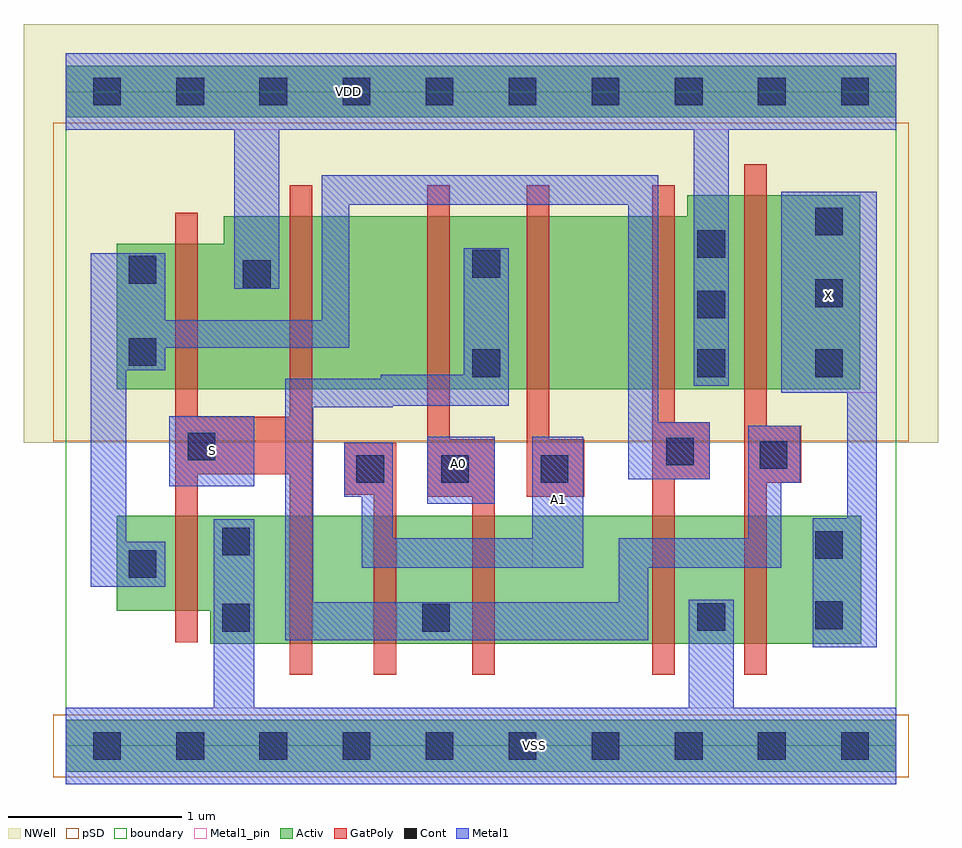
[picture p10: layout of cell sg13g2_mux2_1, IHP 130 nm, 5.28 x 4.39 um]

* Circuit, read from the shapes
.subckt sg13g2_mux2_1 A0 A1 S VDD VSS X
XM1 VSS S n1 VSS sg13_lv_nmos w=0.55u l=0.13u
XM2 n2 S VSS VSS sg13_lv_nmos w=0.74u l=0.13u
XM3 n3 A1 n2 VSS sg13_lv_nmos w=0.74u l=0.13u
XM4 n4 A0 n3 VSS sg13_lv_nmos w=0.74u l=0.13u
XM5 VSS n1 n4 VSS sg13_lv_nmos w=0.74u l=0.13u
XM6 X n3 VSS VSS sg13_lv_nmos w=0.74u l=0.13u
XM7 VDD S n1 VDD sg13_lv_pmos w=0.84u l=0.13u
XM8 n5 S VDD VDD sg13_lv_pmos w=1u l=0.13u
XM9 n3 A0 n5 VDD sg13_lv_pmos w=1u l=0.13u
XM10 n6 A1 n3 VDD sg13_lv_pmos w=1u l=0.13u
XM11 VDD n1 n6 VDD sg13_lv_pmos w=1u l=0.13u
XM12 X n3 VDD VDD sg13_lv_pmos w=1.12u l=0.13u
.ends

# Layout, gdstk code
import gdstk
lib = gdstk.Library(unit=1e-6, precision=1e-09)
def R(c, l, rs):  # rectangles x0, y0, x1, y1
    for r in rs: c.add(gdstk.rectangle(r[:2], r[2:], *l))
def P(c, l, *ps):  # polygons
    for p in ps: c.add(gdstk.Polygon(p, *l))
Activ = (1, 0)
GatPoly = (5, 0)
Cont = (6, 0)
Metal1 = (8, 0)
Metal1_pin = (8, 2)
pSD = (14, 0)
NWell = (31, 0)
boundary = (189, 4)

sg13g2_mux2_1 = lib.new_cell('sg13g2_mux2_1')
R(sg13g2_mux2_1, Activ, [(0,-0.15,4.8,0.15), (0,3.63,4.8,3.93)])
P(sg13g2_mux2_1, Activ, [(0.295,2.06),(0.295,2.9),(0.915,2.9),(0.915,3.06),(3.59,3.06),(3.59,3.18),(4.59,3.18),(4.59,2.06)],
  [(0.835,0.59),(0.835,0.78),(0.295,0.78),(0.295,1.33),(4.595,1.33),(4.595,0.59)])
P(sg13g2_mux2_1, GatPoly, [(1.295,0.41),(1.295,1.57),(0.765,1.57),(0.765,0.6),(0.635,0.6),(0.635,3.08),(0.765,3.08),(0.765,1.9),(1.295,1.9),(1.295,3.24),(1.425,3.24),(1.425,0.41)],
  [(3.92,0.41),(3.92,3.36),(4.05,3.36),(4.05,1.85),(4.25,1.85),(4.25,1.52),(4.05,1.52),(4.05,0.41)],
  [(3.39,0.41),(3.39,3.24),(3.52,3.24),(3.52,1.87),(3.72,1.87),(3.72,1.54),(3.52,1.54),(3.52,0.41)],
  [(2.665,1.44),(2.665,3.24),(2.795,3.24),(2.795,1.77),(2.995,1.77),(2.995,1.44)],
  [(2.35,0.41),(2.35,1.44),(2.09,1.44),(2.09,3.24),(2.22,3.24),(2.22,1.77),(2.48,1.77),(2.48,0.41)],
  [(1.78,0.41),(1.78,1.45),(1.61,1.45),(1.61,1.75),(1.91,1.75),(1.91,0.41)])
R(sg13g2_mux2_1, Cont, [(0.16,-0.08,0.32,0.08), (0.16,-0.08,0.32,0.08), (0.64,-0.08,0.8,0.08), (0.64,-0.08,0.8,0.08), (1.12,-0.08,1.28,0.08), (1.12,-0.08,1.28,0.08), (1.6,-0.08,1.76,0.08), (1.6,-0.08,1.76,0.08), (2.08,-0.08,2.24,0.08), (2.08,-0.08,2.24,0.08), (2.56,-0.08,2.72,0.08), (2.56,-0.08,2.72,0.08), (3.04,-0.08,3.2,0.08), (3.04,-0.08,3.2,0.08), (3.52,-0.08,3.68,0.08), (3.52,-0.08,3.68,0.08), (4,-0.08,4.16,0.08), (4,-0.08,4.16,0.08), (4.48,-0.08,4.64,0.08), (4.48,-0.08,4.64,0.08), (0.905,0.66,1.065,0.82), (2.06,0.66,2.22,0.82), (3.65,0.665,3.81,0.825), (4.33,0.675,4.49,0.835), (0.365,0.97,0.525,1.13), (4.33,1.08,4.49,1.24), (0.905,1.1,1.065,1.26), (1.68,1.52,1.84,1.68), (2.17,1.52,2.33,1.68), (2.745,1.52,2.905,1.68), (4.01,1.6,4.17,1.76), (3.47,1.62,3.63,1.78), (0.705,1.65,0.865,1.81), (2.35,2.13,2.51,2.29), (3.65,2.13,3.81,2.29), (4.33,2.13,4.49,2.29), (0.365,2.195,0.525,2.355), (3.65,2.47,3.81,2.63), (4.33,2.535,4.49,2.695), (1.025,2.645,1.185,2.805), (0.365,2.67,0.525,2.83), (2.35,2.705,2.51,2.865), (3.65,2.82,3.81,2.98), (4.33,2.95,4.49,3.11), (0.16,3.7,0.32,3.86), (0.16,3.7,0.32,3.86), (0.64,3.7,0.8,3.86), (0.64,3.7,0.8,3.86), (1.12,3.7,1.28,3.86), (1.12,3.7,1.28,3.86), (1.6,3.7,1.76,3.86), (1.6,3.7,1.76,3.86), (2.08,3.7,2.24,3.86), (2.08,3.7,2.24,3.86), (2.56,3.7,2.72,3.86), (2.56,3.7,2.72,3.86), (3.04,3.7,3.2,3.86), (3.04,3.7,3.2,3.86), (3.52,3.7,3.68,3.86), (3.52,3.7,3.68,3.86), (4,3.7,4.16,3.86), (4,3.7,4.16,3.86), (4.48,3.7,4.64,3.86), (4.48,3.7,4.64,3.86)])
R(sg13g2_mux2_1, Metal1, [(2.09,1.4,2.48,1.785), (0.6,1.5,1.09,1.905)])
P(sg13g2_mux2_1, Metal1, [(1.27,0.61),(1.27,2.12),(1.82,2.12),(1.82,2.145),(2.3,2.145),(2.3,2.875),(2.56,2.875),(2.56,1.965),(1.89,1.965),(1.89,1.955),(1.43,1.955),(1.43,0.83),(3.195,0.83),(3.195,1.2),(3.945,1.2),(3.945,1.85),(4.245,1.85),(4.245,1.52),(4.135,1.52),(4.135,1.03),(3.365,1.03),(3.365,0.61)],
  [(0,-0.22),(0,0.22),(0.855,0.22),(0.855,1.31),(1.09,1.31),(1.09,0.22),(3.6,0.22),(3.6,0.845),(3.86,0.845),(3.86,0.22),(4.8,0.22),(4.8,-0.22)],
  [(3.63,2.08),(3.63,3.56),(1.235,3.56),(1.235,2.64),(0.975,2.64),(0.975,3.56),(0,3.56),(0,4),(4.8,4),(4.8,3.56),(3.83,3.56),(3.83,2.08)],
  [(4.315,0.57),(4.315,1.315),(4.515,1.315),(4.515,2.04),(4.135,2.04),(4.135,3.2),(4.685,3.2),(4.685,0.57)],
  [(0.145,0.92),(0.145,2.845),(0.575,2.845),(0.575,2.46),(1.48,2.46),(1.48,3.295),(3.425,3.295),(3.425,1.87),(3.72,1.87),(3.72,1.54),(3.25,1.54),(3.25,3.125),(1.64,3.125),(1.64,2.3),(0.575,2.3),(0.575,2.17),(0.35,2.17),(0.35,1.18),(0.575,1.18),(0.575,0.92)],
  [(1.71,1.03),(1.71,1.44),(1.61,1.44),(1.61,1.755),(1.89,1.755),(1.89,1.2),(2.695,1.2),(2.695,1.785),(2.99,1.785),(2.99,1.03)])
R(sg13g2_mux2_1, Metal1_pin, [(0,-0.22,4.8,0.22), (2.695,1.03,2.99,1.785), (2.09,1.4,2.48,1.785), (0.6,1.5,1.09,1.905), (4.135,2.04,4.685,3.2), (0,3.56,4.8,4)])
R(sg13g2_mux2_1, pSD, [(-0.07,-0.18,4.87,0.18), (-0.07,1.76,4.87,3.6)])
R(sg13g2_mux2_1, NWell, [(-0.24,1.75,5.04,4.17)])
R(sg13g2_mux2_1, boundary, [(0,0,4.8,3.78)])
sg13g2_mux2_1.add(gdstk.Label('A1', (2.85,1.425), layer=8, texttype=25))
sg13g2_mux2_1.add(gdstk.Label('X', (4.405,2.6), layer=8, texttype=25))
sg13g2_mux2_1.add(gdstk.Label('S', (0.85,1.705), layer=8, texttype=25))
sg13g2_mux2_1.add(gdstk.Label('VDD', (1.635,3.78), layer=8, texttype=25))
sg13g2_mux2_1.add(gdstk.Label('VSS', (2.71,0), layer=8, texttype=25))
sg13g2_mux2_1.add(gdstk.Label('A0', (2.27,1.63), layer=8, texttype=25))

lib.write_gds('sg13g2_mux2_1.gds')
